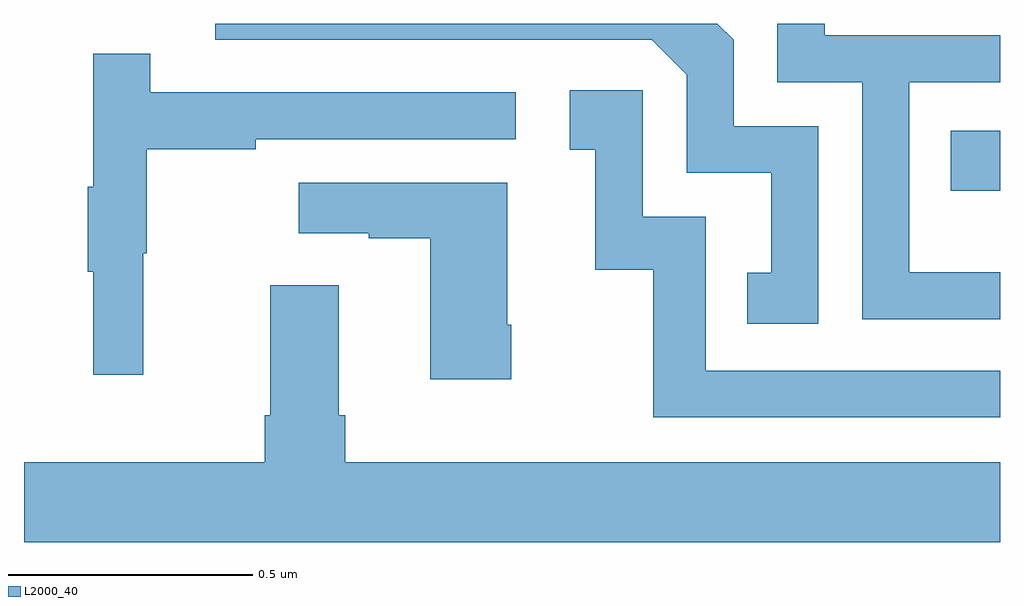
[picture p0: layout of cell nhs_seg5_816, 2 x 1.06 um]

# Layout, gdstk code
import gdstk
lib = gdstk.Library(unit=1e-6, precision=1e-09)
def R(c, l, rs):  # rectangles x0, y0, x1, y1
    for r in rs: c.add(gdstk.rectangle(r[:2], r[2:], *l))
def P(c, l, *ps):  # polygons
    for p in ps: c.add(gdstk.Polygon(p, *l))
L2000_40 = (2000, 40)

nhs_seg5_816 = lib.new_cell('nhs_seg5_816')
R(nhs_seg5_816, L2000_40, [(122.899,881.457,123,881.58)])
P(nhs_seg5_816, L2000_40, [(122.628,881.589),(122.454,881.589),(122.454,881.766),(122.421,881.799),(121.392,881.799),(121.392,881.766),(122.286,881.766),(122.358,881.694),(122.358,881.493),(122.531,881.493),(122.531,881.289),(122.482,881.289),(122.482,881.184),(122.628,881.184)],
  [(123,881.29),(122.814,881.29),(122.814,881.679),(123,881.679),(123,881.775),(122.641,881.775),(122.641,881.799),(122.544,881.799),(122.544,881.679),(122.718,881.679),(122.718,881.193),(123,881.193)],
  [(121.244,881.328),(121.252,881.328),(121.252,881.542),(121.475,881.542),(121.475,881.562),(122.008,881.562),(122.008,881.658),(121.259,881.658),(121.259,881.737),(121.142,881.737),(121.142,881.465),(121.131,881.465),(121.131,881.291),(121.142,881.291),(121.142,881.079),(121.244,881.079)],
  [(123,881.088),(122.397,881.088),(122.397,881.403),(122.268,881.403),(122.268,881.662),(122.118,881.662),(122.118,881.541),(122.171,881.541),(122.171,881.295),(122.289,881.295),(122.289,880.992),(123,880.992)],
  [(121.998,881.182),(121.99,881.182),(121.99,881.473),(121.563,881.473),(121.563,881.369),(121.706,881.369),(121.706,881.359),(121.832,881.359),(121.832,881.07),(121.998,881.07)],
  [(123,880.9),(121.658,880.9),(121.658,880.996),(121.645,880.996),(121.645,881.263),(121.505,881.263),(121.505,880.996),(121.493,880.996),(121.493,880.9),(121,880.9),(121,880.736),(123,880.736)])

lib.write_gds('nhs_seg5_816.gds')
